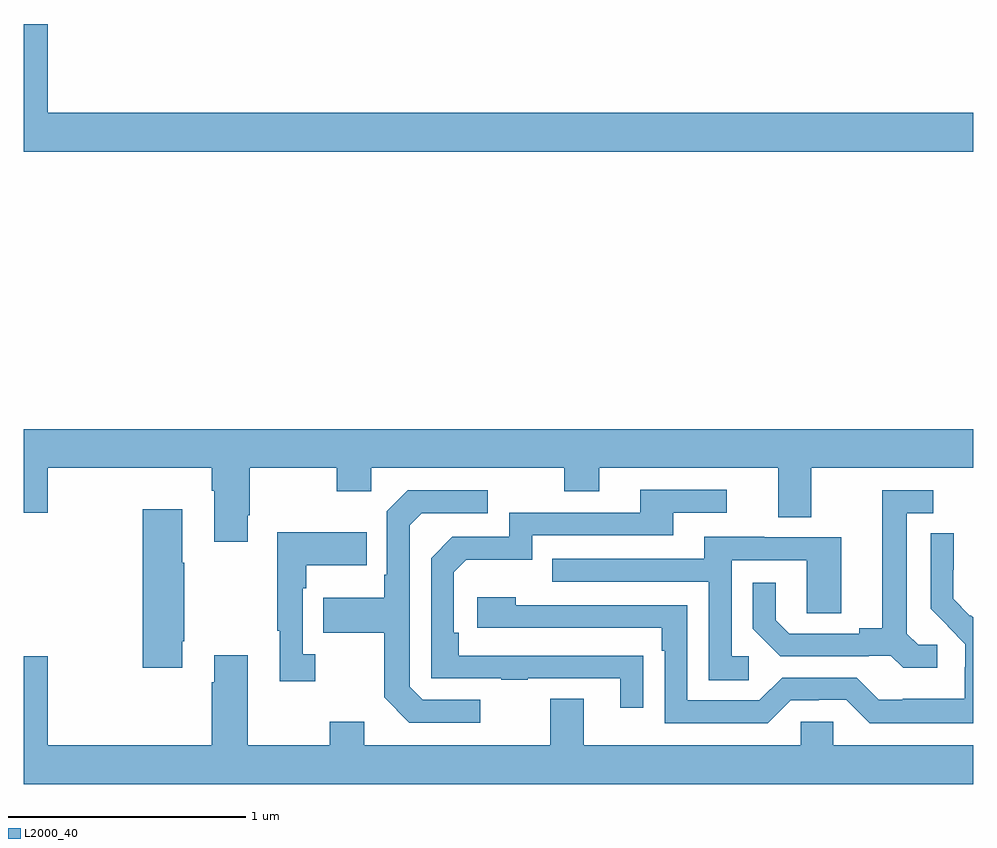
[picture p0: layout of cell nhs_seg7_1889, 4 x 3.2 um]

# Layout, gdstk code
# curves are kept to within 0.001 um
import gdstk
lib = gdstk.Library(unit=1e-6, precision=1e-09)
def P(c, l, *ps):  # polygons
    for p in ps: c.add(gdstk.Polygon(p, *l))
L2000_40 = (2000, 40)

nhs_seg7_1889 = lib.new_cell('nhs_seg7_1889')
P(nhs_seg7_1889, L2000_40, [(241,1071.376),(237.1,1071.376),(237.1,1071.751),(237,1071.751),(237,1071.212),(241,1071.212)],
  [(237.943,1069.681),(237.951,1069.681),(237.951,1069.88),(238.318,1069.88),(238.318,1069.781),(238.464,1069.781),(238.464,1069.88),(239.278,1069.88),(239.278,1069.781),(239.425,1069.781),(239.425,1069.88),(240.179,1069.88),(240.179,1069.672),(240.319,1069.672),(240.319,1069.88),(241,1069.88),(241,1070.044),(237,1070.044),(237,1069.692),(237.1,1069.692),(237.1,1069.88),(237.791,1069.88),(237.791,1069.784),(237.803,1069.784),(237.803,1069.569),(237.943,1069.569)],
  [(239.609,1069.088),(238.832,1069.089),(238.832,1069.186),(238.812,1069.186),(238.812,1069.44),(238.865,1069.493),(239.142,1069.493),(239.142,1069.596),(239.737,1069.596),(239.737,1069.692),(239.962,1069.692),(239.962,1069.788),(239.597,1069.788),(239.597,1069.692),(239.046,1069.692),(239.046,1069.59),(238.806,1069.59),(238.716,1069.5),(238.716,1068.993),(239.011,1068.993),(239.011,1068.988),(239.123,1068.988),(239.123,1068.993),(239.513,1068.993),(239.513,1068.87),(239.609,1068.87)],
  [(238.924,1068.903),(238.68,1068.903),(238.626,1068.957),(238.626,1069.638),(238.677,1069.689),(238.954,1069.689),(238.954,1069.785),(238.617,1069.785),(238.53,1069.698),(238.53,1069.429),(238.518,1069.429),(238.518,1069.333),(238.261,1069.333),(238.261,1069.186),(238.518,1069.186),(238.518,1068.913),(238.623,1068.807),(238.924,1068.807)],
  [(240.85,1069.134),(240.768,1069.134),(240.721,1069.181),(240.721,1069.689),(240.832,1069.689),(240.832,1069.785),(240.617,1069.785),(240.617,1069.205),(240.521,1069.205),(240.521,1069.182),(240.226,1069.182),(240.169,1069.239),(240.169,1069.396),(240.072,1069.396),(240.072,1069.202),(240.188,1069.086),(240.56,1069.086),(240.56,1069.089),(240.654,1069.089),(240.706,1069.037),(240.85,1069.037)],
  [(237.667,1069.15),(237.675,1069.15),(237.675,1069.481),(237.667,1069.481),(237.667,1069.705),(237.5,1069.705),(237.5,1069.038),(237.667,1069.038)],
  [(238.228,1069.094),(238.176,1069.094),(238.176,1069.373),(238.189,1069.373),(238.189,1069.469),(238.445,1069.469),(238.445,1069.609),(238.068,1069.609),(238.068,1069.193),(238.079,1069.193),(238.079,1068.981),(238.228,1068.981)],
  [(241,1069.25),(240.99,1069.26),(240.987,1069.257),(240.917,1069.328),(240.918,1069.604),(240.822,1069.604),(240.822,1069.286),(240.968,1069.138),(240.968,1069.041),(240.966,1069.041),(240.966,1068.907),(240.703,1068.907),(240.703,1068.903),(240.603,1068.903),(240.51,1068.996),(240.195,1068.996),(240.099,1068.9),(239.796,1068.9),(239.796,1069.302),(239.072,1069.302),(239.072,1069.336),(238.911,1069.336),(238.911,1069.206),(239.687,1069.206),(239.687,1069.109),(239.7,1069.109),(239.7,1068.804),(240.135,1068.804),(240.231,1068.9),(240.35,1068.9),(240.35,1068.903),(240.465,1068.903),(240.565,1068.803),(241,1068.803)],
  [(240.055,1069.086),(239.982,1069.086),(239.982,1069.491),(240.3,1069.491),(240.3,1069.267),(240.445,1069.267),(240.445,1069.587),(240.121,1069.587),(240.121,1069.591),(239.867,1069.591),(239.867,1069.497),(239.227,1069.497),(239.227,1069.401),(239.886,1069.401),(239.886,1068.985),(240.055,1068.985)],
  [(240.273,1068.81),(240.273,1068.712),(239.359,1068.712),(239.359,1068.907),(239.219,1068.907),(239.219,1068.712),(238.435,1068.712),(238.435,1068.811),(238.288,1068.811),(238.288,1068.712),(237.943,1068.712),(237.943,1069.09),(237.803,1069.09),(237.803,1068.977),(237.791,1068.977),(237.791,1068.712),(237.1,1068.712),(237.1,1069.087),(237,1069.087),(237,1068.548),(241,1068.548),(241,1068.712),(240.411,1068.712),(240.411,1068.81)])

lib.write_gds('nhs_seg7_1889.gds')
